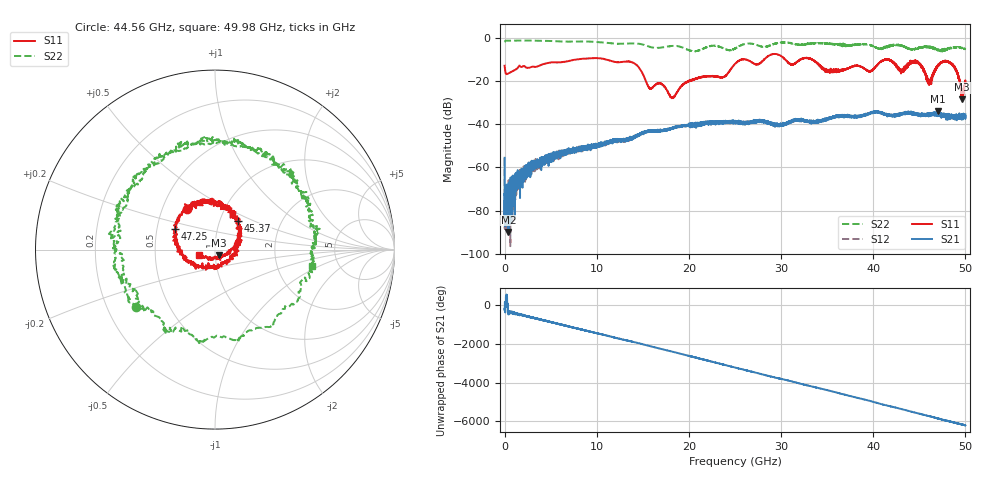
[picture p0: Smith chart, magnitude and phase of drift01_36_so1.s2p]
!Created with skrf (http://scikit-rf.org).
# Hz S RI R 50.0
!freq ReS11 ImS11 ReS21 ImS21 ReS12 ImS12 ReS22 ImS22
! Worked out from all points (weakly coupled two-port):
!   10001 points, 300 kHz to 50 GHz, reference 50 ohm
!   highest |S21| = -33.92 dB at 47.04 GHz (marker M1); lowest = -90.0 dB at 415.3 MHz (marker M2)
!   lowest |S11| = -28.5 dB at 49.63 GHz (marker M3), VSWR 1.08, Z = 51.9 - j3.31 ohm
!   |S11| at or under -10 dB: start of sweep to 8.059 GHz; 10.89 GHz to 26 GHz (15.11 GHz wide, 81.9 % of centre); 33.32 GHz to end of sweep (the widest 3 of 12)
!   |S22| runs from -6.7 to -1.4 dB; largest |S21 - S12| = 0.0036
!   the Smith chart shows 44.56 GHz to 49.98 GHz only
!   S11 on the Smith chart (normalised r, x): 44.56 GHz: 0.66, +0.33; 45.37 GHz: 1.22, +0.41; 47.25 GHz: 0.62, +0.15; 49.98 GHz: 0.84, -0.05
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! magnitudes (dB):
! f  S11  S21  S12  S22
! 300 kHz  -13.1  -55.6  -55.9  -2.1
! 255.3 MHz  -16.9  -69.3  -74.0  -1.4
! 415.3 MHz  -16.6  -90.0  -76.2  -1.4
! 2.825 GHz  -13.8  -59.4  -60.3  -1.4
! 8.335 GHz  -9.9  -51.6  -50.9  -1.8
! 13.78 GHz  -11.4  -46.2  -46.9  -2.7
! 15.74 GHz  -23.4  -43.7  -43.4  -4.2
! 16.67 GHz  -21.1  -43.2  -43.0  -4.8
! 18.24 GHz  -27.6  -42.0  -42.2  -3.9
! 25 GHz  -12.2  -38.8  -39.0  -5.1
! 33.34 GHz  -10.1  -38.5  -38.6  -2.7
! 35.25 GHz  -15.4  -37.3  -37.5  -2.9
! 41.67 GHz  -10.4  -35.8  -35.9  -4.2
! 44.56 GHz  -11.1  -35.6  -35.4  -5.3
! 45.37 GHz  -13.7  -36.1  -35.7  -4.4
! 46.11 GHz  -20.7  -35.7  -35.3  -4.3
! 47.04 GHz  -13.0  -33.9  -35.3  -5.8
! 47.25 GHz  -12.0  -35.0  -35.6  -5.6
! 48.65 GHz  -12.8  -36.2  -36.7  -4.8
! 49.63 GHz  -28.5  -37.5  -36.8  -4.8
! 49.98 GHz  -20.7  -35.8  -36.8  -5.3
! 50 GHz  -21.1  -35.6  -36.4  -5.3
